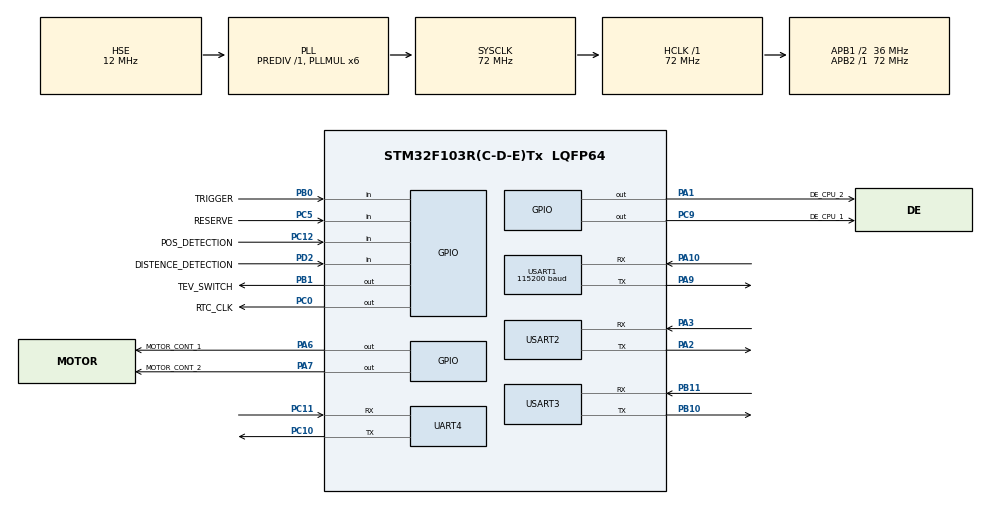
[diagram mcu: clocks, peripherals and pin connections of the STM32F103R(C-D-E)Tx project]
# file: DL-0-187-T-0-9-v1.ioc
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FREERTOS.Tasks01=defaultTask,-3,64,StartDefaultTask,Default,NULL,Dynamic,NULL,NULL;myTask02,-3,64,StartTask02,Default,NULL,Dynamic,NULL,NULL;myTask03,-3,64,StartTask03,Default,NULL,Dynamic,NULL,NULL;myTask04,-3,64,StartTask04,Default,NULL,Dynamic,NULL,NULL;myTask05,-3,64,StartTask05,Default,NULL,Dynamic,NULL,NULL;myTask06,-3,64,StartTask06,Default,NULL,Dynamic,NULL,NULL;myTask07,-3,64,StartTask07,Default,NULL,Dynamic,NULL,NULL
FREERTOS.configMINIMAL_STACK_SIZE=64
Mcu.Family=STM32F1
Mcu.Name=STM32F103R(C-D-E)Tx
Mcu.Package=LQFP64
NVIC.PriorityGroup=NVIC_PRIORITYGROUP_4
NVIC.TIM1_UP_IRQn=true\:0\:0\:false\:false\:true\:false\:false\:true
NVIC.TIM2_IRQn=true\:6\:0\:true\:false\:true\:true\:true\:true
NVIC.TimeBase=TIM1_UP_IRQn
NVIC.TimeBaseIP=TIM1
NVIC.UART4_IRQn=true\:7\:0\:true\:false\:true\:true\:true\:true
NVIC.USART1_IRQn=true\:5\:0\:false\:false\:true\:true\:true\:true
NVIC.USART2_IRQn=true\:6\:0\:true\:false\:true\:true\:true\:true
NVIC.USART3_IRQn=true\:6\:0\:true\:false\:true\:true\:true\:true
PA1.GPIO_Label=DE_CPU_2
PA1.Signal=GPIO_Output
PA10.Mode=Asynchronous
PA10.Signal=USART1_RX
PA13.Mode=Serial_Wire
PA13.Signal=SYS_JTMS-SWDIO
PA14.Mode=Serial_Wire
PA14.Signal=SYS_JTCK-SWCLK
PA2.Mode=Asynchronous
PA2.Signal=USART2_TX
PA3.Mode=Asynchronous
PA3.Signal=USART2_RX
PA6.GPIO_Label=MOTOR_CONT_1
PA6.Signal=GPIO_Output
PA7.GPIO_Label=MOTOR_CONT_2
PA7.Signal=GPIO_Output
PA9.Mode=Asynchronous
PA9.Signal=USART1_TX
PB0.GPIO_Label=TRIGGER
PB0.Signal=GPIO_Input
PB1.GPIO_Label=TEV_SWITCH
PB1.Signal=GPIO_Output
PB10.Mode=Asynchronous
PB10.Signal=USART3_TX
PB11.Mode=Asynchronous
PB11.Signal=USART3_RX
PC0.GPIO_Label=RTC_CLK
PC0.Signal=GPIO_Output
PC10.Mode=Asynchronous
PC10.Signal=UART4_TX
PC11.Mode=Asynchronous
PC11.Signal=UART4_RX
PC12.GPIO_Label=POS_DETECTION
PC12.Signal=GPIO_Input
PC5.GPIO_Label=RESERVE
PC5.Signal=GPIO_Input
PC9.GPIO_Label=DE_CPU_1
PC9.Signal=GPIO_Output
PD0-OSC_IN.Mode=HSE-External-Oscillator
PD0-OSC_IN.Signal=RCC_OSC_IN
PD1-OSC_OUT.Mode=HSE-External-Oscillator
PD1-OSC_OUT.Signal=RCC_OSC_OUT
PD2.GPIO_Label=DISTENCE_DETECTION
PD2.Signal=GPIO_Input
ProjectManager.HeapSize=0x200
ProjectManager.StackSize=0x400
ProjectManager.TargetToolchain=MDK-ARM V5
RCC.AHBFreq_Value=72000000
RCC.APB1CLKDivider=RCC_HCLK_DIV2
RCC.APB1Freq_Value=36000000
RCC.APB1TimFreq_Value=72000000
RCC.APB2Freq_Value=72000000
RCC.APB2TimFreq_Value=72000000
RCC.HCLKFreq_Value=72000000
RCC.HSE_VALUE=12000000
RCC.PLLMUL=RCC_PLL_MUL6
RCC.PLLSourceVirtual=RCC_PLLSOURCE_HSE
RCC.SYSCLKFreq_VALUE=72000000
RCC.SYSCLKSource=RCC_SYSCLKSOURCE_PLLCLK
RCC.USBFreq_Value=72000000
TIM2.AutoReloadPreload=TIM_AUTORELOAD_PRELOAD_ENABLE
TIM2.Period=9999
TIM2.Prescaler=7199
UART4.VirtualMode=Asynchronous
USART1.BaudRate=115200
USART1.VirtualMode=VM_ASYNC
USART2.VirtualMode=VM_ASYNC
USART3.VirtualMode=VM_ASYNC
VP_CRC_VS_CRC.Mode=CRC_Activate
VP_FREERTOS_VS_CMSIS_V1.Mode=CMSIS_V1
VP_SYS_VS_tim1.Mode=TIM1
VP_TIM2_VS_ClockSourceINT.Mode=Internal
board=custom

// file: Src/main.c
/* USER CODE BEGIN Header */
/**
  ******************************************************************************
  * @file           : main.c
  * @brief          : Main program body
  ******************************************************************************
  * @attention
  *
  * <h2><center>&copy; Copyright (c) 2019 STMicroelectronics.
  * All rights reserved.</center></h2>
  *
  * This software component is licensed by ST under Ultimate Liberty license
  * SLA0044, the "License"; You may not use this file except in compliance with
  * the License. You may obtain a copy of the License at:
  *                             www.st.com/SLA0044
  *
  ******************************************************************************
  */
/* USER CODE END Header */

#include "main.h"
#include "cmsis_os.h"
#include "crc.h"
#include "tim.h"
#include "usart.h"
#include "gpio.h"

/* USER CODE BEGIN PV */

/* For TIM2 to check extend-link timeout. */
extern uint8_t second_count;

//extern TIM_HandleTypeDef htim2;
/* USER CODE END PV */

void SystemClock_Config(void);
void MX_FREERTOS_Init(void);

int main(void)
{

  /* MCU Configuration--------------------------------------------------------*/

  /* Reset of all peripherals, Initializes the Flash interface and the Systick. */
  HAL_Init();

  /* Configure the system clock */
  SystemClock_Config();

  /* Initialize all configured peripherals */
  MX_GPIO_Init();
  MX_UART4_Init();
  MX_USART1_UART_Init();
  MX_USART2_UART_Init();
  MX_USART3_UART_Init();
  MX_TIM2_Init();
  MX_CRC_Init();
  /* USER CODE BEGIN 2 */

	/* Enable the RXNE IT */
	__HAL_UART_ENABLE_IT(&huart4, UART_IT_RXNE);
	__HAL_UART_ENABLE_IT(&huart1, UART_IT_RXNE);
	__HAL_UART_ENABLE_IT(&huart2, UART_IT_RXNE);
	__HAL_UART_ENABLE_IT(&huart3, UART_IT_RXNE);

	/* Set the GPIOs for RESET state. */
	HAL_GPIO_WritePin(DE_CPU_1_GPIO_Port, DE_CPU_1_Pin, GPIO_PIN_RESET);
	HAL_GPIO_WritePin(DE_CPU_2_GPIO_Port, DE_CPU_2_Pin, GPIO_PIN_RESET);
	HAL_GPIO_WritePin(TEV_SWITCH_GPIO_Port, TEV_SWITCH_Pin, GPIO_PIN_RESET);

  /* USER CODE END 2 */

  /* Call init function for freertos objects (in freertos.c) */
  MX_FREERTOS_Init();

  /* Start scheduler */
  osKernelStart();

  /* We should never get here as control is now taken by the scheduler */

  /* Infinite loop */
  while (1)
  {

  }
}

void SystemClock_Config(void)
{
  RCC_OscInitTypeDef RCC_OscInitStruct = {0};
  RCC_ClkInitTypeDef RCC_ClkInitStruct = {0};

  /** Initializes the CPU, AHB and APB busses clocks
  */
  RCC_OscInitStruct.OscillatorType = RCC_OSCILLATORTYPE_HSE;
  RCC_OscInitStruct.HSEState = RCC_HSE_ON;
  RCC_OscInitStruct.HSEPredivValue = RCC_HSE_PREDIV_DIV1;
  RCC_OscInitStruct.HSIState = RCC_HSI_ON;
  RCC_OscInitStruct.PLL.PLLState = RCC_PLL_ON;
  RCC_OscInitStruct.PLL.PLLSource = RCC_PLLSOURCE_HSE;
  RCC_OscInitStruct.PLL.PLLMUL = RCC_PLL_MUL6;
  if (HAL_RCC_OscConfig(&RCC_OscInitStruct) != HAL_OK)
  {
    Error_Handler();
  }
  /** Initializes the CPU, AHB and APB busses clocks
  */
  RCC_ClkInitStruct.ClockType = RCC_CLOCKTYPE_HCLK|RCC_CLOCKTYPE_SYSCLK
                              |RCC_CLOCKTYPE_PCLK1|RCC_CLOCKTYPE_PCLK2;
  RCC_ClkInitStruct.SYSCLKSource = RCC_SYSCLKSOURCE_PLLCLK;
  RCC_ClkInitStruct.AHBCLKDivider = RCC_SYSCLK_DIV1;
  RCC_ClkInitStruct.APB1CLKDivider = RCC_HCLK_DIV2;
  RCC_ClkInitStruct.APB2CLKDivider = RCC_HCLK_DIV1;

  if (HAL_RCC_ClockConfig(&RCC_ClkInitStruct, FLASH_LATENCY_2) != HAL_OK)
  {
    Error_Handler();
  }
}

void HAL_TIM_PeriodElapsedCallback(TIM_HandleTypeDef *htim)
{
  if (htim->Instance == TIM1) {
    HAL_IncTick();
  }
  /* USER CODE BEGIN Callback 1 */
	/* Timing for 32 seconds */
	if (htim->Instance == TIM2) {
		second_count++;
		if(second_count > 32) second_count = 0;
	}
  /* USER CODE END Callback 1 */
}

void Error_Handler(void)
{
}

/************************ (C) COPYRIGHT STMicroelectronics *****END OF FILE****/

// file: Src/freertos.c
/* USER CODE BEGIN Header */
/**
  ******************************************************************************
  * File Name          : freertos.c
  * Description        : Code for freertos applications
  ******************************************************************************
  * @attention
  *
  * <h2><center>&copy; Copyright (c) 2019 STMicroelectronics.
  * All rights reserved.</center></h2>
  *
  * This software component is licensed by ST under Ultimate Liberty license
  * SLA0044, the "License"; You may not use this file except in compliance with
  * the License. You may obtain a copy of the License at:
  *                             www.st.com/SLA0044
  *
  ******************************************************************************
  */
/* USER CODE END Header */

#include "FreeRTOS.h"
#include "task.h"
#include "main.h"
#include "cmsis_os.h"

/* USER CODE BEGIN Includes */
#include "usart.h"
#include "gpio.h"
#include "control.h"

#include "key.h"
#include "e3z_ls61.h"
#include "ee_sx951w.h"
#include "motor.h"
#include "steering.h"
#include "usart2_cache.h"
#include "TEV.h"
#include "usart3_cache.h"
#include "upper.h"
#include "usart1_cache.h"

/* USER CODE END Includes */

/* USER CODE BEGIN Variables */

key_t* key = NULL;

e3z_ls61_t* e3z_ls61 = NULL;

ee_sx951w_t* ee_sx951w = NULL;

usart2_cache_t *p_usart2_cache = NULL;

usart3_cache_t *p_usart3_cache = NULL;

usart1_cache_t *p_usart1_cache = NULL;

steering_t* steering = NULL;

motor_t* motor = NULL;

TEV_t* TEV = NULL;

upper_t* upper = NULL;

/* USER CODE END Variables */
osThreadId defaultTaskHandle;
osThreadId myTask02Handle;
osThreadId myTask03Handle;
osThreadId myTask04Handle;
osThreadId myTask05Handle;
osThreadId myTask06Handle;
osThreadId myTask07Handle;

/* USER CODE BEGIN FunctionPrototypes */

static int8_t(*Upper_Write)(upper_t*, uint8_t);

int8_t Usart1_Set_Write_Handler(int8_t (*Upper_Write_Handler)(upper_t*, uint8_t))
{
	Upper_Write = Upper_Write_Handler;

	return 0;
}

static int8_t(*Steering_Write)(steering_t*, uint8_t);

int8_t Usart2_Set_Write_Handler(int8_t (*Steering_Write_Cache_Handler)(steering_t*, uint8_t))
{
	Steering_Write = Steering_Write_Cache_Handler;

	return 0;
}

static int8_t(*TEV_Cache_Write)(TEV_t*, uint8_t);

int8_t Usart3_Set_Write_Handler(int8_t (*TEV_Cache_Write_Handler)(TEV_t*, uint8_t))
{
	TEV_Cache_Write = TEV_Cache_Write_Handler;

	return 0;
}

/* USER CODE END FunctionPrototypes */

void StartDefaultTask(void const * argument);
void StartTask02(void const * argument);
void StartTask03(void const * argument);
void StartTask04(void const * argument);
void StartTask05(void const * argument);
void StartTask06(void const * argument);
void StartTask07(void const * argument);

void MX_FREERTOS_Init(void); /* (MISRA C 2004 rule 8.1) */

void MX_FREERTOS_Init(void) {

  /* Create the thread(s) */
  /* definition and creation of defaultTask */
  osThreadDef(defaultTask, StartDefaultTask, osPriorityIdle, 0, 64);
  defaultTaskHandle = osThreadCreate(osThread(defaultTask), NULL);

  /* definition and creation of myTask02 */
  osThreadDef(myTask02, StartTask02, osPriorityIdle, 0, 64);
  myTask02Handle = osThreadCreate(osThread(myTask02), NULL);

  /* definition and creation of myTask03 */
  osThreadDef(myTask03, StartTask03, osPriorityIdle, 0, 64);
  myTask03Handle = osThreadCreate(osThread(myTask03), NULL);

  /* definition and creation of myTask04 */
  osThreadDef(myTask04, StartTask04, osPriorityIdle, 0, 64);
  myTask04Handle = osThreadCreate(osThread(myTask04), NULL);

  /* definition and creation of myTask05 */
  osThreadDef(myTask05, StartTask05, osPriorityIdle, 0, 64);
  myTask05Handle = osThreadCreate(osThread(myTask05), NULL);

  /* definition and creation of myTask06 */
  osThreadDef(myTask06, StartTask06, osPriorityIdle, 0, 64);
  myTask06Handle = osThreadCreate(osThread(myTask06), NULL);

  /* definition and creation of myTask07 */
  osThreadDef(myTask07, StartTask07, osPriorityIdle, 0, 64);
  myTask07Handle = osThreadCreate(osThread(myTask07), NULL);

}

void StartDefaultTask(void const * argument)
{

  /* USER CODE BEGIN StartDefaultTask */

	key = Key_Creat();

	e3z_ls61 = E3Z_LS61_Creat();

	ee_sx951w = EE_SX951W_Creat();

	p_usart2_cache = Usart2_Cache_Creat();

	p_usart3_cache = Usart3_Cache_Creat();

	p_usart1_cache = Usart1_Cache_Creat();

	steering = Steering_Creat();

	motor = Motor_Creat();

	TEV = TEV_Creat();

	upper = Upper_Creat();

	HAL_Delay(1000);

  /* Infinite loop */
  for(;;)
  {
		Hardware_Watchdog();

		steering->Update_Status(steering);

		steering->Get_Status(steering);

		osDelay(1);
  }
  /* USER CODE END StartDefaultTask */
}

void StartTask02(void const * argument)
{
  /* USER CODE BEGIN StartTask02 */

	HAL_Delay(1500);
  /* Infinite loop */
  for(;;)
  {
		System_Run(upper->host_infor.cmd);
//		motor->SetStatus(motor, MOTOR_PULL_BACK);
//		for(uint8_t i = 0U; i < 3U; i++)  steering->Set_Position(steering, 120);//SMSCL_Send_Instr();
//		upper->Return_Status(upper, test_frame, 1);
//		HAL_Delay(500);

    osDelay(1);
  }
  /* USER CODE END StartTask02 */
}

void StartTask03(void const * argument)
{
  /* USER CODE BEGIN StartTask03 */

  /* Infinite loop */

  for(;;)
  {
		key->Get_Status(key, &(key->status));

		e3z_ls61->Get_Status(e3z_ls61, &(e3z_ls61->status));

		ee_sx951w->GetStatus(ee_sx951w, &(ee_sx951w->status));

    osDelay(1);
  }
  /* USER CODE END StartTask03 */
}

void StartTask04(void const * argument)
{
  /* USER CODE BEGIN StartTask04 */
	uint8_t data;

  /* Infinite loop */
  for(;;)
  {
		Upper_Write(upper, data);

		osDelay(1);
  }
  /* USER CODE END StartTask04 */
}

void StartTask05(void const * argument)
{
  /* USER CODE BEGIN StartTask05 */

	uint8_t data;

  /* Infinite loop */
  for(;;)
  {
		Steering_Write(steering, data);

    osDelay(1);
  }
  /* USER CODE END StartTask05 */
}

void StartTask06(void const * argument)
{
  /* USER CODE BEGIN StartTask06 */

	uint8_t data;

  /* Infinite loop */
  for(;;)
  {
		TEV_Cache_Write(TEV, data);

    osDelay(1);
  }
  /* USER CODE END StartTask06 */
}

void StartTask07(void const * argument)
{
  /* USER CODE BEGIN StartTask07 */

  /* Infinite loop */
  for(;;)
  {
		upper->Get_Command(upper);

    osDelay(1);
  }
  /* USER CODE END StartTask07 */
}

/************************ (C) COPYRIGHT STMicroelectronics *****END OF FILE****/
